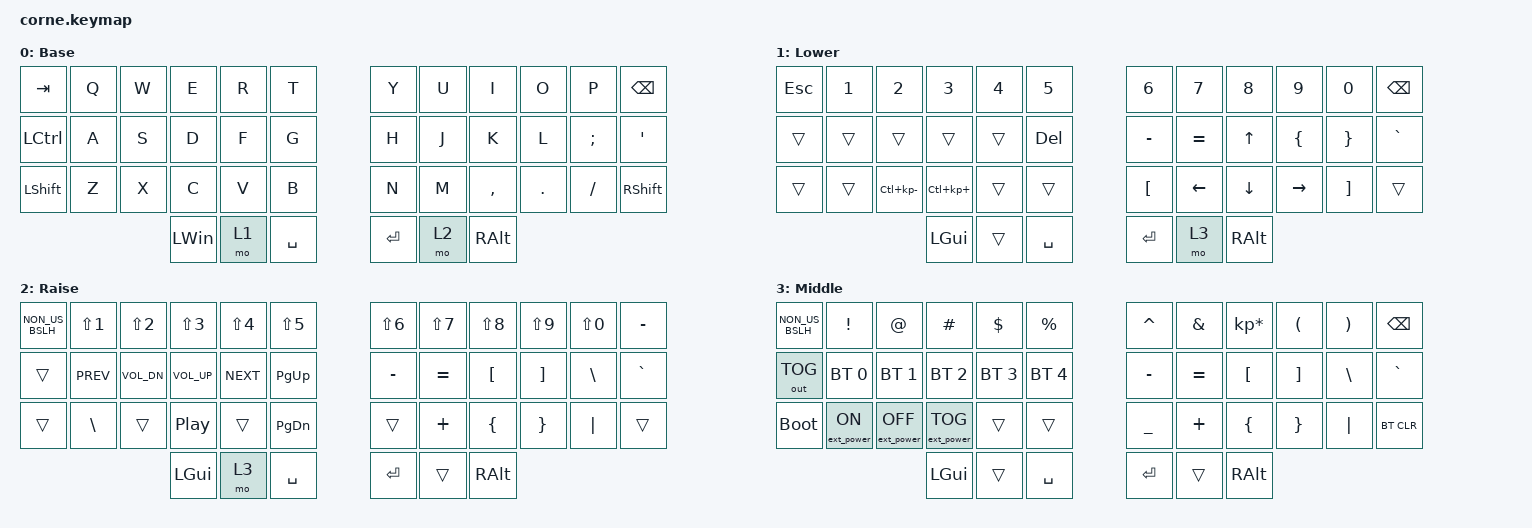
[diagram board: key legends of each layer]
/*
 * Copyright (c) 2020 The ZMK Contributors
 *
 * SPDX-License-Identifier: MIT
 */

#include <behaviors.dtsi>
#include <dt-bindings/zmk/bt.h>
#include <dt-bindings/zmk/ext_power.h>
#include <dt-bindings/zmk/keys.h>
#include <dt-bindings/zmk/outputs.h>

/ {
    // QMK tap dances
    //     [TD_ESC_CAPS] = ACTION_TAP_DANCE_DOUBLE(KC_ESC, KC_CAPS),
    //     [TD_CTRL_SHIFT] = ACTION_TAP_DANCE_DOUBLE(KC_LCTL, KC_LSFT),
    //     [TD_GUI_ALT] = ACTION_TAP_DANCE_DOUBLE(KC_LGUI, KC_RALT),
    //     [TD_SHIFT_CTRL] = ACTION_TAP_DANCE_DOUBLE(KC_LSFT, KC_LCTL)

    behaviors {
        td_esc_caps: tap_dance_esccaps {
            compatible = "zmk,behavior-tap-dance";
            label = "TAP_DANCE_ESC_CAPS";
            #binding-cells = <0>;
            tapping-term-ms = <200>;
            bindings = <&kp ESC>, <&kp CAPSLOCK>;
        };

        td_ctrl_shift: tap_dance_ctrlshift {
            compatible = "zmk,behavior-tap-dance";
            label = "TAP_DANCE_CTRL_SHIFT";
            #binding-cells = <0>;
            tapping-term-ms = <200>;
            bindings = <&kp LCTRL>, <&kp LSHIFT>;
        };

        td_shift_ctrl: tap_dance_shiftctrl {
            compatible = "zmk,behavior-tap-dance";
            label = "TAP_DANCE_SHIFT_CTRL";
            #binding-cells = <0>;
            tapping-term-ms = <200>;
            bindings = <&kp RSHIFT>, <&kp RCTRL>;
        };

        td_gui_alt: tap_dance_guialt {
            compatible = "zmk,behavior-tap-dance";
            label = "TAP_DANCE_GUI_ALT";
            #binding-cells = <0>;
            tapping-term-ms = <200>;
            bindings = <&kp LGUI>, <&kp LALT>;
        };
    };

    keymap {
        compatible = "zmk,keymap";

        default_layer {
            // -----------------------------------------------------------------------------------------
            // |  TAB |  C  |  W  |  E  |  R  |  T  |   |  Y  |  U   |  I  |  O  |  P  | BKSP |
            // | CTRL |  A  |  S  |  D  |  F  |  G  |   |  H  |  J   |  K  |  L  |  ;  |  '   |
            // | SHFT |  Z  |  X  |  C  |  V  |  B  |   |  N  |  M   |  ,  |  .  |  /  | ESC  |
            //                    | GUI | LWR | SPC |   | ENT | RSE  | ALT |

            label = "Base";
            bindings = <
&kp TAB           &kp Q  &kp W  &kp E         &kp R  &kp T        &kp Y    &kp U  &kp I      &kp O    &kp P     &kp BSPC
&kp LEFT_CONTROL  &kp A  &kp S  &kp D         &kp F  &kp G        &kp H    &kp J  &kp K      &kp L    &kp SEMI  &kp SQT
&kp LEFT_SHIFT    &kp Z  &kp X  &kp C         &kp V  &kp B        &kp N    &kp M  &kp COMMA  &kp DOT  &kp FSLH  &kp RIGHT_SHIFT
                                &kp LEFT_WIN  &mo 1  &kp SPACE    &kp RET  &mo 2  &kp RALT
            >;
        };

        lower_layer {
            // -----------------------------------------------------------------------------------------
            // |  TAB |  1  |  2  |  3  |  4  |  5  |   |  6  |  7  |  8  |  9  |  0  | BKSP |
            // | BTCLR| BT1 | BT2 | BT3 | BT4 | BT5 |   | LFT | DWN |  UP | RGT |     |      |
            // | SHFT |     |     |     |     |     |   |     |     |     |     |     |      |
            //                    | GUI |     | SPC |   | ENT |     | ALT |

            label = "Lower";
            bindings = <
&kp ESCAPE  &kp N1  &kp N2            &kp N3           &kp N4  &kp N5        &kp N6     &kp N7     &kp N8          &kp N9          &kp N0             &kp BSPC
&trans      &trans  &trans            &trans           &trans  &kp DELETE    &kp MINUS  &kp EQUAL  &kp UP_ARROW    &kp LEFT_BRACE  &kp RBRC           &kp GRAVE
&trans      &trans  &kp LC(KP_MINUS)  &kp LC(KP_PLUS)  &trans  &trans        &kp LBKT   &kp LEFT   &kp DOWN_ARROW  &kp RIGHT       &kp RIGHT_BRACKET  &trans
                                      &kp LGUI         &trans  &kp SPACE     &kp RET    &mo 3      &kp RALT
            >;
        };

        raise_layer {
            // -----------------------------------------------------------------------------------------
            // |  TAB |  !  |  @  |  #  |  $  |  %  |   |  ^  |  &  |  *  |  (  |  )  | BKSP |
            // | CTRL |     |     |     |     |     |   |  -  |  =  |  [  |  ]  |  \  |  `   |
            // | SHFT |     |     |     |     |     |   |  _  |  +  |  {  |  }  | "|" |  ~   |
            //                    | GUI |     | SPC |   | ENT |     | ALT |

            label = "Raise";
            bindings = <
&kp NON_US_BSLH  &kp LS(N1)  &kp LS(N2)    &kp LS(N3)    &kp LS(N4)  &kp LS(N5)       &kp LS(N6)  &kp LS(N7)  &kp LS(N8)  &kp LS(N9)  &kp LS(N0)  &kp MINUS
&trans           &kp C_PREV  &kp C_VOL_DN  &kp C_VOL_UP  &kp C_NEXT  &kp PAGE_UP      &kp MINUS   &kp EQUAL   &kp LBKT    &kp RBKT    &kp BSLH    &kp GRAVE
&trans           &kp BSLH    &trans        &kp C_PP      &trans      &kp PAGE_DOWN    &trans      &kp PLUS    &kp LBRC    &kp RBRC    &kp PIPE    &trans
                                           &kp LGUI      &mo 3       &kp SPACE        &kp RET     &trans      &kp RALT
            >;
        };

        middle_layer {
            label = "Middle";
            bindings = <
&kp NON_US_BSLH  &kp EXCL          &kp AT             &kp HASH           &kp DLLR      &kp PRCNT       &kp CARET  &kp AMPS   &kp KP_MULTIPLY  &kp LPAR  &kp RPAR  &kp BSPC
&out OUT_TOG     &bt BT_SEL 0      &bt BT_SEL 1       &bt BT_SEL 2       &bt BT_SEL 3  &bt BT_SEL 4    &kp MINUS  &kp EQUAL  &kp LBKT         &kp RBKT  &kp BSLH  &kp GRAVE
&bootloader      &ext_power EP_ON  &ext_power EP_OFF  &ext_power EP_TOG  &trans        &trans          &kp UNDER  &kp PLUS   &kp LBRC         &kp RBRC  &kp PIPE  &bt BT_CLR
                                                      &kp LGUI           &trans        &kp SPACE       &kp RET    &trans     &kp RALT
            >;
        };
    };
};
